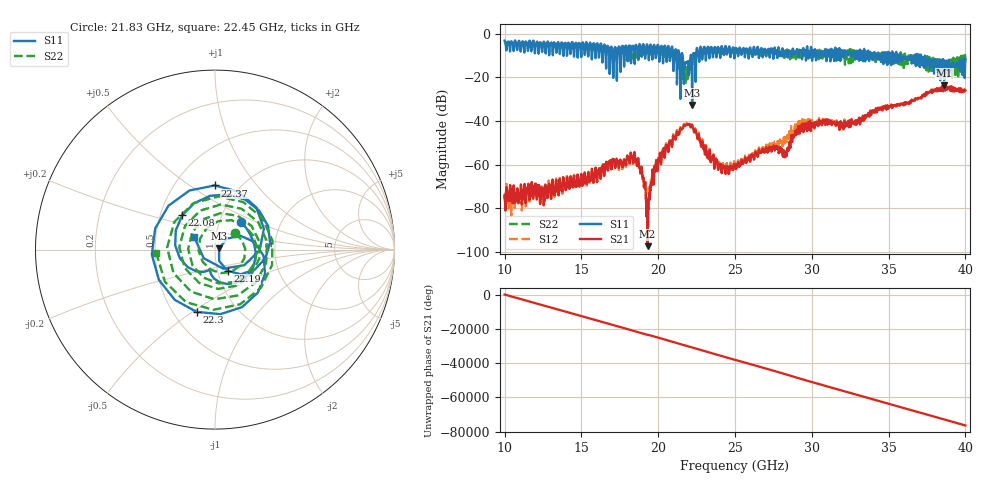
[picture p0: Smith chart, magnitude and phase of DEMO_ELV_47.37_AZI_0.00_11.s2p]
! 11/3/2026 12:51:29 PM
! C:\ANRITSUVNA\TEMP\TEMP.S2P
! CHANNEL.1
! TR.MEASUREMENT
! RAW.DATA
# HZ S RI R 50.0
! FREQ.HZ  S11RE  S11IM  S21RE  S21IM  S12RE  S12IM  S22RE  S22IM
!; PortSelection: Port_12
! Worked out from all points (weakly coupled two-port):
!   3001 points, 10 GHz to 40 GHz, reference 50 ohm
!   highest |S21| = -23.67 dB at 38.62 GHz (marker M1); lowest = -97.4 dB at 19.31 GHz (marker M2)
!   lowest |S11| = -32.6 dB at 22.21 GHz (marker M3), VSWR 1.05, Z = 52.3 + j0.686 ohm
!   |S11| at or under -10 dB: 21.59 GHz to 22.11 GHz (518.8 MHz wide, 2.37 % of centre); 35.78 GHz to 36.45 GHz (666.6 MHz wide, 1.85 % of centre); 37.12 GHz to end of sweep (the widest 3 of 108)
!   |S22| runs from -23.3 to -4.5 dB; largest |S21 - S12| = 0.082
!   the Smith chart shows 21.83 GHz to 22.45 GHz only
!   S11 on the Smith chart (normalised r, x): 21.83 GHz: 1.27, +0.41; 22.08 GHz: 0.65, +0.27; 22.19 GHz: 1.12, -0.27; 22.3 GHz: 0.65, -0.52; 22.37 GHz: 0.77, +0.63; 22.45 GHz: 0.78, +0.11
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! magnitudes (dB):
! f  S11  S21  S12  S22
! 10 GHz  -3.2  -75.4  -73.2  -4.7
! 15 GHz  -9.9  -64.7  -65.0  -6.4
! 17.19 GHz  -6.2  -61.1  -61.6  -7.8
! 18.34 GHz  -5.5  -57.7  -58.0  -11.8
! 18.82 GHz  -5.1  -61.5  -62.5  -8.2
! 19.31 GHz  -5.7  -97.4  -75.9  -8.0
! 20 GHz  -5.4  -58.4  -58.2  -7.4
! 21.83 GHz  -13.5  -41.7  -41.1  -17.0
! 22.08 GHz  -11.6  -42.5  -41.9  -14.8
! 22.19 GHz  -17.2  -41.9  -41.5  -14.0
! 22.21 GHz  -32.6  -42.1  -41.7  -12.7
! 22.3 GHz  -8.8  -44.2  -43.8  -11.4
! 22.37 GHz  -8.9  -44.9  -44.8  -10.0
! 22.45 GHz  -17.3  -44.7  -44.5  -9.7
! 23.78 GHz  -10.0  -59.2  -59.0  -9.4
! 25 GHz  -7.6  -61.2  -60.5  -8.3
! 28.23 GHz  -8.5  -56.2  -49.9  -9.9
! 29.02 GHz  -7.1  -43.9  -41.5  -8.1
! 30 GHz  -10.3  -40.7  -39.6  -8.0
! 35 GHz  -8.5  -33.8  -33.9  -11.0
! 38.62 GHz  -21.3  -23.7  -23.5  -16.8
! 40 GHz  -11.7  -26.1  -26.1  -12.3
